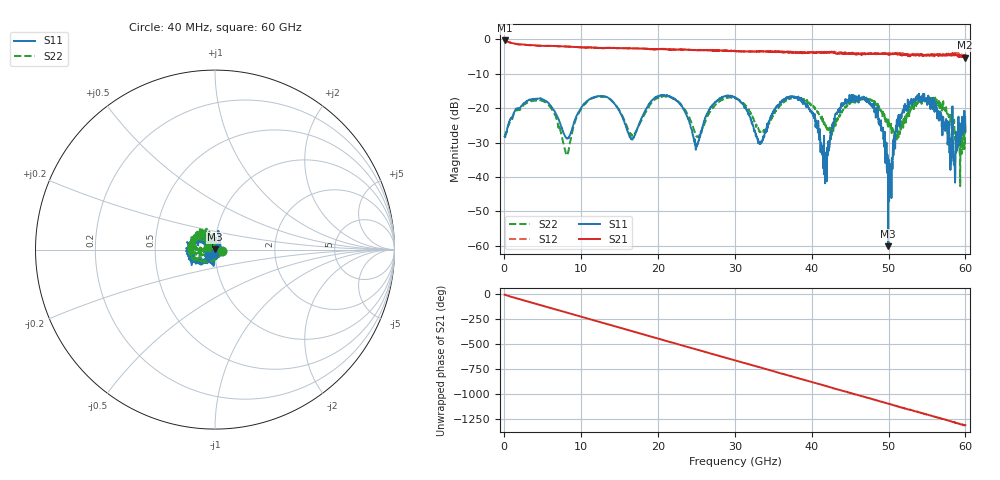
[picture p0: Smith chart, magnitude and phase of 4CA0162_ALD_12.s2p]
! File created by 'SoftPlot +Plus+ Measurement Management Software'
! SoftPlot +Plus+ Measurement Management Software
! Start 40.000000 MHz  Stop 60.000000 GHz  Points 1601
# MHZ S RI R 50
! S-Parameter data, F S11 S21 S12 S22
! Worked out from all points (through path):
!   1601 points, 40 MHz to 60 GHz, reference 50 ohm
!   highest |S21| = -0.37 dB at 40 MHz (marker M1); lowest = -5.3 dB at 59.89 GHz (marker M2)
!   group delay of S21, straight-line fit = 60.6 ps
!   lowest |S11| = -60.1 dB at 49.96 GHz (marker M3), VSWR 1.00, Z = 50 + j0.0934 ohm
!   |S11| at or under -10 dB: start of sweep to end of sweep
!   |S22| runs from -42.6 to -16.5 dB; largest |S21 - S12| = 0.062
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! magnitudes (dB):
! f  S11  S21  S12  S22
! 40 MHz  -28.3  -0.4  -0.4  -27.8
! 4.874 GHz  -17.4  -1.9  -2.0  -17.9
! 8.135 GHz  -28.9  -2.1  -2.1  -33.4
! 10.05 GHz  -19.8  -2.4  -2.4  -20.1
! 13.57 GHz  -17.1  -2.5  -2.5  -17.1
! 16.6 GHz  -28.9  -2.7  -2.7  -27.8
! 20.05 GHz  -16.6  -2.9  -2.8  -16.9
! 25 GHz  -30.8  -3.2  -3.1  -28.1
! 30.02 GHz  -16.8  -3.5  -3.4  -17.0
! 33.24 GHz  -30.4  -3.5  -3.5  -26.9
! 36.54 GHz  -17.3  -3.7  -3.7  -17.9
! 40.03 GHz  -21.7  -3.8  -3.8  -19.0
! 41.75 GHz  -41.8  -3.8  -3.7  -24.7
! 43.32 GHz  -21.1  -4.3  -4.0  -23.7
! 47.07 GHz  -18.1  -4.3  -4.3  -17.4
! 49.96 GHz  -60.1  -4.3  -4.2  -25.4
! 50.03 GHz  -41.0  -4.4  -4.3  -25.1
! 51.19 GHz  -23.1  -4.3  -4.1  -27.0
! 53.07 GHz  -19.1  -4.5  -4.4  -19.1
! 58.65 GHz  -41.7  -4.6  -4.1  -28.9
! 59.89 GHz  -22.2  -5.3  -4.9  -31.8
! 60 GHz  -26.9  -4.6  -4.4  -26.9
